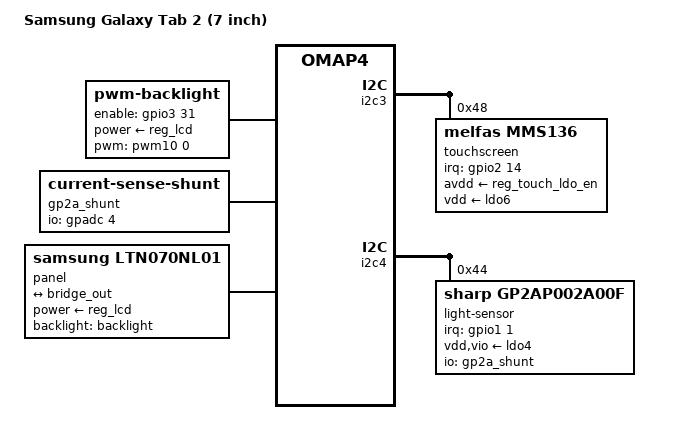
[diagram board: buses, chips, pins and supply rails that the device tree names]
// SPDX-License-Identifier: (GPL-2.0 OR MIT)
/dts-v1/;

#include "omap4-samsung-espresso-common.dtsi"

/ {
	model = "Samsung Galaxy Tab 2 (7 inch)";
	compatible = "samsung,espresso7", "ti,omap4430", "ti,omap4";

	backlight: backlight {
		compatible = "pwm-backlight";
		pinctrl-names = "default";
		pinctrl-0 = <&backlight_pins>;
		pwms = <&pwm10 0 1200 0>;
		power-supply = <&reg_lcd>;
		enable-gpios = <&gpio3 31 GPIO_ACTIVE_HIGH>;
		brightness-levels = <0 4 8 16 32 64 128 255>;
		default-brightness-level = <2>;
	};

	gp2a_shunt: current-sense-shunt {
		compatible = "current-sense-shunt";
		io-channels = <&gpadc 4>;
		shunt-resistor-micro-ohms = <24000000>; /* 24 ohms */
		#io-channel-cells = <0>;
	};

	panel {
		compatible = "samsung,ltn070nl01", "panel-lvds";
		power-supply = <&reg_lcd>;
		width-mm = <154>;
		height-mm = <90>;
		data-mapping = "vesa-24";
		backlight = <&backlight>;

		panel-timing {
			clock-frequency = <47255554>;

			hback-porch = <210>;
			hactive = <1024>;
			hfront-porch = <186>;
			hsync-len = <50>;

			vback-porch = <11>;
			vactive = <600>;
			vfront-porch = <24>;
			vsync-len = <10>;

			hsync-active = <0>;
			vsync-active = <0>;
			de-active = <1>;
			pixelclk-active = <1>;
			syncclk-active = <0>;
		};

		port {
			panel_in: endpoint {
				remote-endpoint = <&bridge_out>;
			};
		};
	};
};

&i2c3 {
	touchscreen@48 {
		compatible = "melfas,mms136";
		reg = <0x48>;
		interrupt-parent = <&gpio2>;
		interrupts = <14 IRQ_TYPE_EDGE_FALLING>;
		touchscreen-size-x = <1024>;
		touchscreen-size-y = <600>;
		pinctrl-names = "default";
		pinctrl-0 = <&touch_pins>;
		avdd-supply = <&reg_touch_ldo_en>;
		vdd-supply = <&ldo6>;
	};
};

&i2c4 {
	light-sensor@44 {
		compatible = "sharp,gp2ap002a00f";
		reg = <0x44>;
		interrupt-parent = <&gpio1>;
		interrupts = <1 IRQ_TYPE_EDGE_FALLING>;
		vdd-supply = <&ldo4>;
		vio-supply = <&ldo4>;
		io-channels = <&gp2a_shunt>;
		io-channel-names = "alsout";
		sharp,proximity-far-hysteresis = /bits/ 8 <0x40>;
		sharp,proximity-close-hysteresis = /bits/ 8 <0x20>;
	};
};
